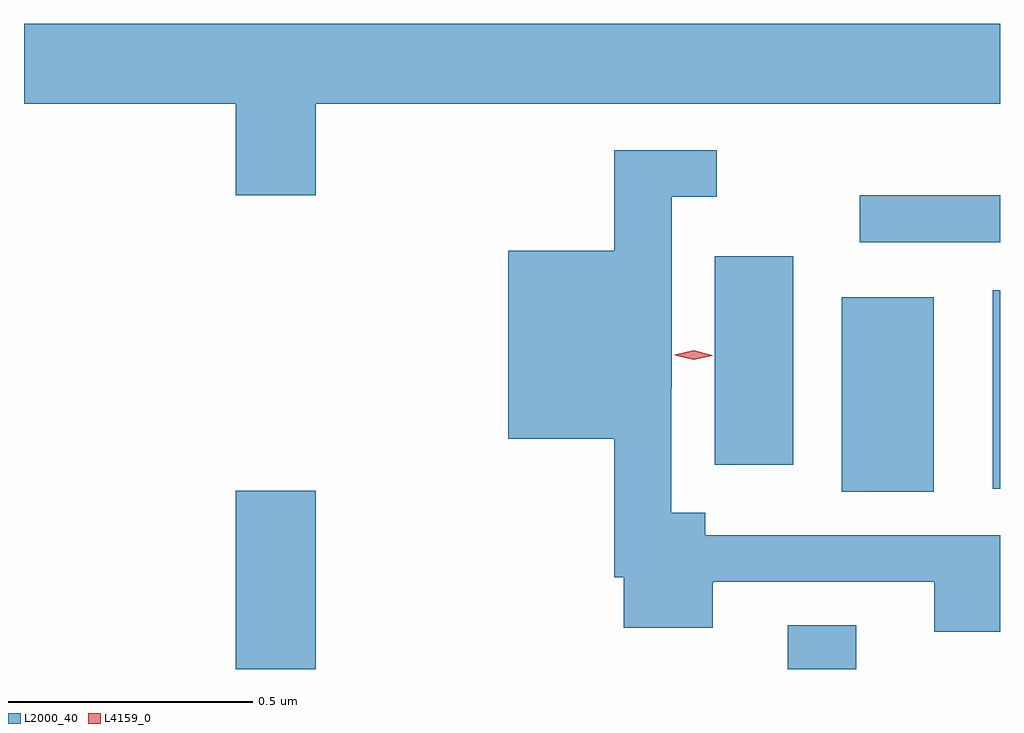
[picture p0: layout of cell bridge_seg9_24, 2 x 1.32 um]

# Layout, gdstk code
import gdstk
lib = gdstk.Library(unit=1e-6, precision=1e-09)
def R(c, l, rs):  # rectangles x0, y0, x1, y1
    for r in rs: c.add(gdstk.rectangle(r[:2], r[2:], *l))
def P(c, l, *ps):  # polygons
    for p in ps: c.add(gdstk.Polygon(p, *l))
L2000_40 = (2000, 40)
L4159_0 = (4159, 0)

bridge_seg9_24 = lib.new_cell('bridge_seg9_24')
R(bridge_seg9_24, L2000_40, [(956.216,1215.241,956.38,1215.607), (957.347,1215.241,957.487,1215.331), (957.458,1215.605,957.646,1216.003), (957.767,1215.611,957.782,1216.018), (957.197,1215.66,957.358,1216.087), (957.495,1216.116,957.782,1216.212)])
P(bridge_seg9_24, L2000_40, [(956.38,1216.4),(957.782,1216.4),(957.782,1216.564),(955.782,1216.564),(955.782,1216.4),(956.216,1216.4),(956.216,1216.212),(956.38,1216.212)],
  [(957.782,1215.516),(957.178,1215.516),(957.178,1215.562),(957.108,1215.562),(957.108,1215.817),(957.109,1215.817),(957.109,1216.209),(957.202,1216.209),(957.202,1216.305),(956.992,1216.305),(956.992,1216.099),(956.774,1216.099),(956.774,1215.713),(956.992,1215.713),(956.992,1215.43),(957.011,1215.43),(957.011,1215.326),(957.193,1215.326),(957.193,1215.42),(957.647,1215.42),(957.647,1215.318),(957.782,1215.318)])
P(bridge_seg9_24, L4159_0, [(957.154,1215.875),(957.116,1215.885),(957.116,1215.885),(957.116,1215.886),(957.154,1215.895),(957.192,1215.885),(957.192,1215.884),(957.192,1215.884)])

lib.write_gds('bridge_seg9_24.gds')
